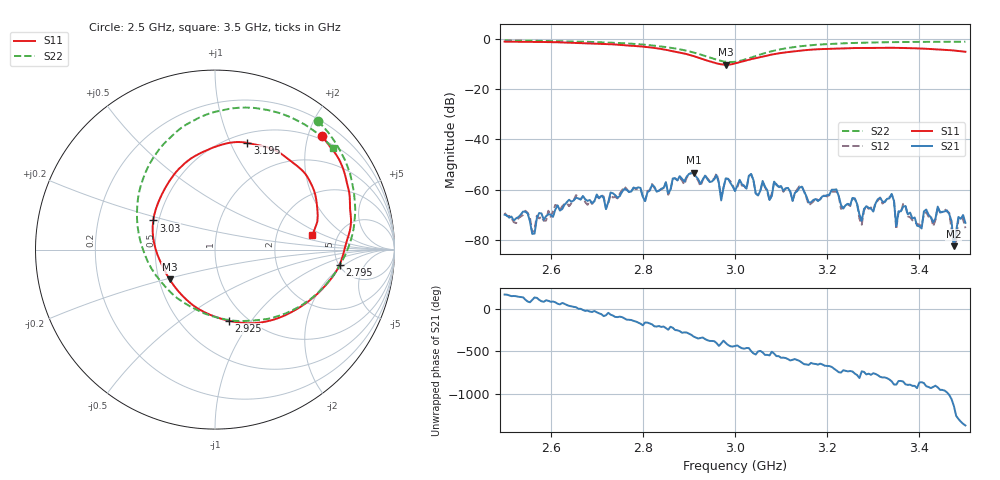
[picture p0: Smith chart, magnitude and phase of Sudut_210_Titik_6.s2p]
# Hz S RI R 50
! CMT, C1220, 16058040, 17.2.0/1
! Date: 15/08/2018 10:18:26
! Data: Format (Calibration Info)
! Freq  S11: Re/Im (F2)  S21: Re/Im (F2)  S12: Re/Im (F2)  S22: Re/Im (F2)
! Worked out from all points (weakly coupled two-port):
!   201 points, 2.5 GHz to 3.5 GHz, reference 50 ohm
!   highest |S21| = -53.33 dB at 2.91 GHz (marker M1); lowest = -82.5 dB at 3.475 GHz (marker M2)
!   lowest |S11| = -10.4 dB at 2.98 GHz (marker M3), VSWR 1.87, Z = 28.4 - j10.4 ohm
!   |S11| at or under -10 dB: 2.964 GHz to 2.997 GHz (33.37 MHz wide, 1.12 % of centre)
!   |S22| runs from -9.3 to -0.7 dB; largest |S21 - S12| = 0.00019
!   S11 on the Smith chart (normalised r, x): 2.5 GHz: 0.43, +2.24; 2.795 GHz: 5.09, -1.67; 2.925 GHz: 0.83, -0.78; 3.03 GHz: 0.47, +0.18; 3.195 GHz: 0.60, +1.16; 3.5 GHz: 3.24, +0.73
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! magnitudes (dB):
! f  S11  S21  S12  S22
! 2.5 GHz  -1.2  -70.0  -69.2  -0.7
! 2.565 GHz  -1.3  -77.5  -75.7  -0.9
! 2.67 GHz  -1.8  -62.6  -62.7  -1.2
! 2.795 GHz  -3.1  -59.3  -59.9  -2.3
! 2.835 GHz  -4.0  -60.5  -60.4  -3.0
! 2.91 GHz  -7.0  -53.3  -53.5  -5.5
! 2.925 GHz  -7.9  -57.8  -58.6  -6.3
! 2.96 GHz  -9.8  -54.3  -53.6  -8.4
! 2.97 GHz  -10.2  -64.3  -63.2  -8.9
! 2.98 GHz  -10.4  -55.5  -55.8  -9.2
! 3 GHz  -9.9  -60.5  -60.4  -9.2
! 3.03 GHz  -8.4  -54.5  -54.8  -7.9
! 3.17 GHz  -4.3  -64.1  -64.8  -2.6
! 3.195 GHz  -4.1  -62.6  -62.5  -2.2
! 3.275 GHz  -3.8  -72.4  -73.9  -1.7
! 3.335 GHz  -3.7  -63.5  -63.1  -1.4
! 3.35 GHz  -3.7  -74.6  -75.8  -1.4
! 3.365 GHz  -3.7  -66.8  -65.7  -1.4
! 3.405 GHz  -4.0  -75.4  -74.5  -1.3
! 3.44 GHz  -4.3  -66.8  -67.0  -1.3
! 3.475 GHz  -4.7  -82.5  -82.4  -1.3
! 3.5 GHz  -5.2  -73.2  -75.3  -1.3
